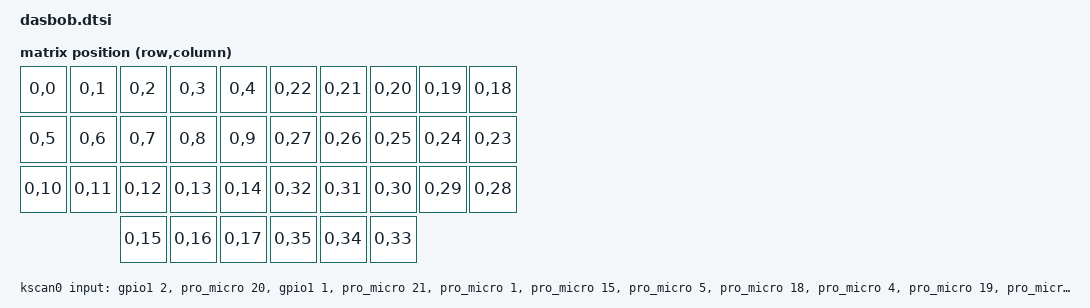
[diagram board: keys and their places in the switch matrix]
/*
 * Copyright (c) 2021 The ZMK Contributors
 *
 * SPDX-License-Identifier: MIT
 */

#include <dt-bindings/zmk/matrix_transform.h>
#include <physical_layouts.dtsi>

/ {

	chosen {
		zmk,kscan = &kscan0;
		zmk,physical-layout = &default_layout;
	};

	default_transform: keymap_transform_0 {
		compatible = "zmk,matrix-transform";
		columns = <36>;
		rows = <1>;
		map = <
			RC(0,0)  RC(0,1)  RC(0,2)  RC(0,3)  RC(0,4)    RC(0,22) RC(0,21) RC(0,20) RC(0,19) RC(0,18)
			RC(0,5)  RC(0,6)  RC(0,7)  RC(0,8)  RC(0,9)    RC(0,27) RC(0,26) RC(0,25) RC(0,24) RC(0,23)
			RC(0,10) RC(0,11) RC(0,12) RC(0,13) RC(0,14)   RC(0,32) RC(0,31) RC(0,30) RC(0,29) RC(0,28)
			                  RC(0,15) RC(0,16) RC(0,17)   RC(0,35) RC(0,34) RC(0,33)
		>;
	};

	kscan0: kscan {
		compatible = "zmk,kscan-gpio-direct";
		label = "KSCAN";
		input-gpios =
			<&gpio1 2 (GPIO_ACTIVE_LOW | GPIO_PULL_UP)>,
			<&pro_micro 20 (GPIO_ACTIVE_LOW | GPIO_PULL_UP)>,
			<&gpio1 1 (GPIO_ACTIVE_LOW | GPIO_PULL_UP)>,
			<&pro_micro 21 (GPIO_ACTIVE_LOW | GPIO_PULL_UP)>,
			<&pro_micro 1 (GPIO_ACTIVE_LOW | GPIO_PULL_UP)>,

			<&pro_micro  15 (GPIO_ACTIVE_LOW | GPIO_PULL_UP)>,
			<&pro_micro 5 (GPIO_ACTIVE_LOW | GPIO_PULL_UP)>,
			<&pro_micro 18 (GPIO_ACTIVE_LOW | GPIO_PULL_UP)>,
			<&pro_micro 4 (GPIO_ACTIVE_LOW | GPIO_PULL_UP)>,
			<&pro_micro 19 (GPIO_ACTIVE_LOW | GPIO_PULL_UP)>,

			<&pro_micro  10 (GPIO_ACTIVE_LOW | GPIO_PULL_UP)>,
			<&pro_micro 16 (GPIO_ACTIVE_LOW | GPIO_PULL_UP)>,
			<&pro_micro  7 (GPIO_ACTIVE_LOW | GPIO_PULL_UP)>,
			<&pro_micro 14 (GPIO_ACTIVE_LOW | GPIO_PULL_UP)>,
			<&pro_micro 6 (GPIO_ACTIVE_LOW | GPIO_PULL_UP)>,

			<&gpio1 7 (GPIO_ACTIVE_LOW | GPIO_PULL_UP)>,
			<&pro_micro  9 (GPIO_ACTIVE_LOW | GPIO_PULL_UP)>,
			<&pro_micro  8 (GPIO_ACTIVE_LOW | GPIO_PULL_UP)>
		;
	};

	default_layout: default_layout {
		compatible = "zmk,physical-layout";
        display-name = "dasbob";

        transform = <&default_transform>;

        keys  //                     w   h    x    y     rot    rx    ry
            = <&key_physical_attrs 100 100    0    0       0     0     0>
            , <&key_physical_attrs 100 100  100    0       0     0     0>
            , <&key_physical_attrs 100 100  200    0       0     0     0>
            , <&key_physical_attrs 100 100  300    0       0     0     0>
            , <&key_physical_attrs 100 100  400    0       0     0     0>
            , <&key_physical_attrs 100 100  500    0       0     0     0>
            , <&key_physical_attrs 100 100  600    0       0     0     0>
            , <&key_physical_attrs 100 100  700    0       0     0     0>
            , <&key_physical_attrs 100 100  800    0       0     0     0>
            , <&key_physical_attrs 100 100  900    0       0     0     0>
            , <&key_physical_attrs 100 100    0  100       0     0     0>
            , <&key_physical_attrs 100 100  100  100       0     0     0>
            , <&key_physical_attrs 100 100  200  100       0     0     0>
            , <&key_physical_attrs 100 100  300  100       0     0     0>
            , <&key_physical_attrs 100 100  400  100       0     0     0>
            , <&key_physical_attrs 100 100  500  100       0     0     0>
            , <&key_physical_attrs 100 100  600  100       0     0     0>
            , <&key_physical_attrs 100 100  700  100       0     0     0>
            , <&key_physical_attrs 100 100  800  100       0     0     0>
            , <&key_physical_attrs 100 100  900  100       0     0     0>
            , <&key_physical_attrs 100 100    0  200       0     0     0>
            , <&key_physical_attrs 100 100  100  200       0     0     0>
            , <&key_physical_attrs 100 100  200  200       0     0     0>
            , <&key_physical_attrs 100 100  300  200       0     0     0>
            , <&key_physical_attrs 100 100  400  200       0     0     0>
            , <&key_physical_attrs 100 100  500  200       0     0     0>
            , <&key_physical_attrs 100 100  600  200       0     0     0>
            , <&key_physical_attrs 100 100  700  200       0     0     0>
            , <&key_physical_attrs 100 100  800  200       0     0     0>
            , <&key_physical_attrs 100 100  900  200       0     0     0>
            , <&key_physical_attrs 100 100  200  300       0     0     0>
            , <&key_physical_attrs 100 100  300  300       0     0     0>
            , <&key_physical_attrs 100 100  400  300       0     0     0>
            , <&key_physical_attrs 100 100  500  300       0     0     0>
            , <&key_physical_attrs 100 100  600  300       0     0     0>
            , <&key_physical_attrs 100 100  700  300       0     0     0>
            ;
    };

};

